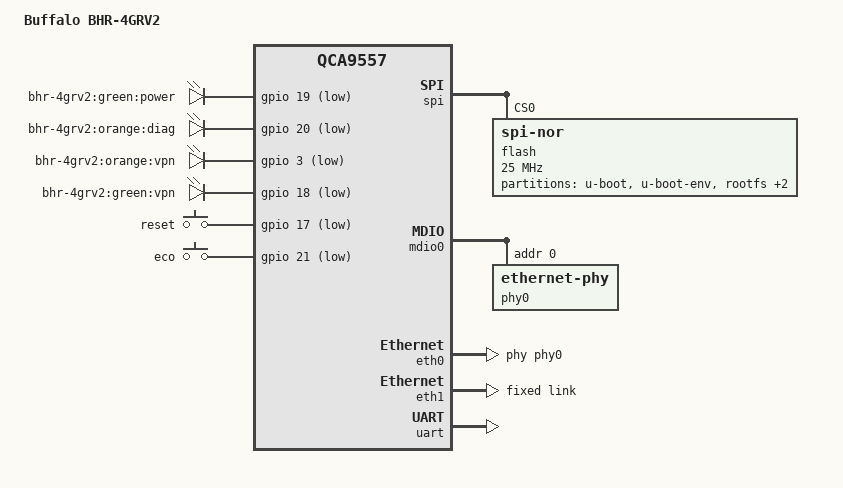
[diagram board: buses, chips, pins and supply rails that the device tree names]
// SPDX-License-Identifier: GPL-2.0-or-later OR MIT
/dts-v1/;

#include <dt-bindings/gpio/gpio.h>
#include <dt-bindings/input/input.h>

#include "qca9557.dtsi"

/ {
	compatible = "buffalo,bhr-4grv2", "qca,qca9557";
	model = "Buffalo BHR-4GRV2";

	aliases {
		led-boot = &power;
		led-failsafe = &power;
		led-running = &power;
		led-upgrade = &power;
	};

	chosen {
		bootargs = "console=ttyS0,115200n8";
	};

	gpio-leds {
		compatible = "gpio-leds";

		power: power {
			label = "bhr-4grv2:green:power";
			gpios = <&gpio 19 GPIO_ACTIVE_LOW>;
			default-state = "on";
		};

		diag {
			label = "bhr-4grv2:orange:diag";
			gpios = <&gpio 20 GPIO_ACTIVE_LOW>;
			default-state = "off";
		};

		vpn_orange {
			label = "bhr-4grv2:orange:vpn";
			gpios = <&gpio 3 GPIO_ACTIVE_LOW>;
			default-state = "off";
		};

		vpn_green {
			label = "bhr-4grv2:green:vpn";
			gpios = <&gpio 18 GPIO_ACTIVE_LOW>;
			default-state = "off";
		};
	};

	gpio-keys-polled {
		compatible = "gpio-keys-polled";
		poll-interval = <20>;

		reset {
			label = "reset";
			gpios = <&gpio 17 GPIO_ACTIVE_LOW>;
			linux,code = <KEY_RESTART>;
			debounce-interval = <60>;
		};

		eco {
			label = "eco";
			gpios = <&gpio 21 GPIO_ACTIVE_LOW>;
			linux,code = <BTN_0>;
			linux,input-type = <EV_SW>;
			debounce-interval = <60>;
		};
	};
};

&spi {
	status = "okay";
	num-cs = <1>;

	flash@0 {
		compatible = "jedec,spi-nor";
		reg = <0>;
		spi-max-frequency = <25000000>;

		partitions {
			compatible = "fixed-partitions";
			#address-cells = <1>;
			#size-cells = <1>;

			partition@0 {
				label = "u-boot";
				reg = <0x000000 0x040000>;
				read-only;
			};

			partition@40000 {
				label = "u-boot-env";
				reg = <0x040000 0x010000>;
				read-only;
			};

			partition@50000 {
				label = "rootfs";
				reg = <0x050000 0xe30000>;
			};

			partition@e80000 {
				label = "kernel";
				reg = <0xe80000 0x170000>;
			};

			art: partition@ff0000 {
				label = "art";
				reg = <0xff0000 0x010000>;
				read-only;
			};
		};
	};
};

&mdio0 {
	status = "okay";

	phy0: ethernet-phy@0 {
		reg = <0>;

		qca,ar8327-initvals = <
		    0x04 0x80080080 /* PORT0 PAD MODE CTRL */
		    0x0c 0x07600000 /* PORT6 PAD MODE CTRL */
		    0x7c 0x0000007e /* PORT0_STATUS */
		    0x94 0x0000007e /* PORT6 STATUS */
		>;
	};
};

&eth0 {
	status = "okay";

	mtd-mac-address = <&art 0x0>;
	phy-handle = <&phy0>;
	pll-data = <0x56000000 0x00000101 0x00001616>;
};

&eth1 {
	status = "okay";

	mtd-mac-address = <&art 0x6>;
	pll-data = <0x03000101 0x00000101 0x00001616>;

	fixed-link {
		speed = <1000>;
		full-duplex;
	};
};

&uart {
	status = "okay";
};
